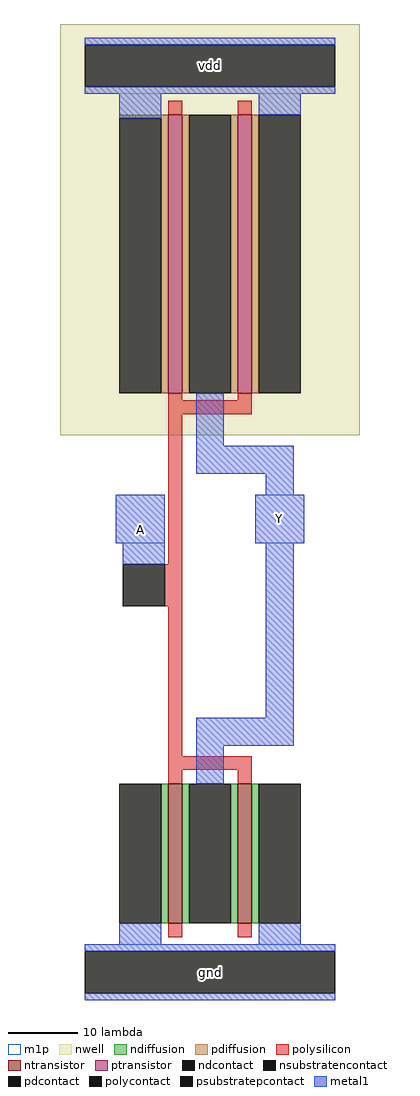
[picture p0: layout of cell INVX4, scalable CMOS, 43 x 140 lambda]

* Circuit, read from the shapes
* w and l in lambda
.subckt INVX4 A Y vdd gnd
M1 Y A gnd gnd nfet w=20 l=2 m=2
M2 Y A vdd vdd pfet w=40 l=2 m=2
.ends

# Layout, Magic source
magic
tech scmos
magscale 1 2
<< nwell >>
rect -13 154 73 272
<< ntransistor >>
rect 18 14 22 54
rect 38 14 42 54
<< ptransistor >>
rect 18 166 22 246
rect 38 166 42 246
<< ndiffusion >>
rect 16 14 18 54
rect 22 14 24 54
rect 36 14 38 54
rect 42 14 44 54
<< pdiffusion >>
rect 4 245 18 246
rect 16 166 18 245
rect 22 166 24 246
rect 36 166 38 246
rect 42 166 44 246
<< ndcontact >>
rect 4 14 16 54
rect 24 14 36 54
rect 44 14 56 54
<< pdcontact >>
rect 4 166 16 245
rect 24 166 36 246
rect 44 166 56 246
<< psubstratepcontact >>
rect -6 -6 66 6
<< nsubstratencontact >>
rect -6 254 66 266
<< polysilicon >>
rect 18 246 22 250
rect 38 246 42 250
rect 18 164 22 166
rect 38 164 42 166
rect 18 160 42 164
rect 18 117 22 160
rect 17 105 22 117
rect 18 62 22 105
rect 18 58 42 62
rect 18 54 22 58
rect 38 54 42 58
rect 18 10 22 14
rect 38 10 42 14
<< polycontact >>
rect 5 105 17 117
<< metal1 >>
rect -6 266 66 268
rect -6 252 66 254
rect 4 245 16 252
rect 44 246 56 252
rect 26 151 34 166
rect 26 143 54 151
rect 46 137 54 143
rect 3 123 17 137
rect 43 123 57 137
rect 5 117 17 123
rect 46 73 54 123
rect 26 65 54 73
rect 26 54 34 65
rect 4 8 16 14
rect 44 8 56 14
rect -6 6 66 8
rect -6 -8 66 -6
<< m1p >>
rect -6 252 66 268
rect 3 123 17 137
rect 43 123 57 137
rect -6 -8 66 8
<< labels >>
rlabel nsubstratencontact 30 260 30 260 0 vdd
port 3 nsew power bidirectional abutment
rlabel psubstratepcontact 30 0 30 0 0 gnd
port 4 nsew ground bidirectional abutment
rlabel metal1 10 127 10 127 0 A
port 1 nsew signal input
rlabel metal1 50 130 50 130 0 Y
port 2 nsew signal output
<< properties >>
string FIXED_BBOX 0 0 60 260
string LEFclass CORE
string LEFsite core
string LEFsymmetry X Y
<< end >>
